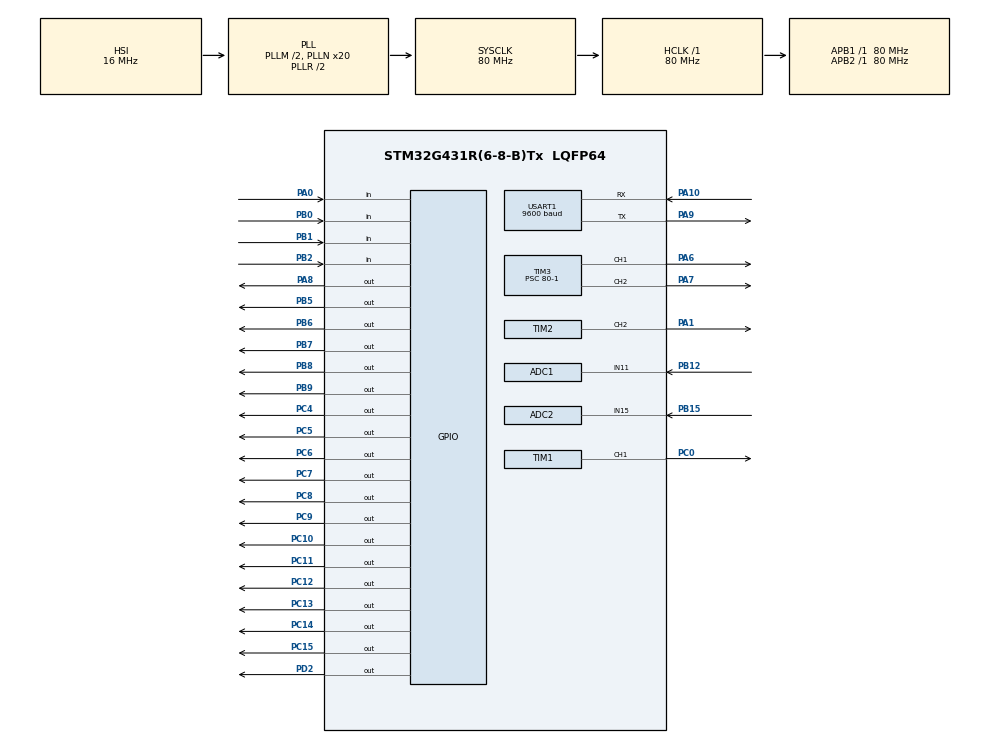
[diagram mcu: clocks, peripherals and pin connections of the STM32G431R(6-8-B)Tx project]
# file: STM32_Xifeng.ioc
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ADC1.Channel-3\#ChannelRegularConversion=ADC_CHANNEL_11
ADC1.ClockPrescaler=ADC_CLOCK_SYNC_PCLK_DIV4
ADC1.ContinuousConvMode=ENABLE
ADC1.DMAContinuousRequests=ENABLE
ADC1.NbrOfConversionFlag=1
ADC1.OffsetNumber-3\#ChannelRegularConversion=ADC_OFFSET_NONE
ADC1.Rank-3\#ChannelRegularConversion=1
ADC1.SamplingTime-3\#ChannelRegularConversion=ADC_SAMPLETIME_2CYCLES_5
ADC1.master=1
ADC2.Channel-2\#ChannelRegularConversion=ADC_CHANNEL_15
ADC2.ClockPrescaler=ADC_CLOCK_SYNC_PCLK_DIV4
ADC2.ContinuousConvMode=ENABLE
ADC2.DMAContinuousRequests=ENABLE
ADC2.NbrOfConversionFlag=1
ADC2.OffsetNumber-2\#ChannelRegularConversion=ADC_OFFSET_NONE
ADC2.Rank-2\#ChannelRegularConversion=1
ADC2.SamplingTime-2\#ChannelRegularConversion=ADC_SAMPLETIME_2CYCLES_5
Dma.ADC1.3.Direction=DMA_PERIPH_TO_MEMORY
Dma.ADC1.3.EventEnable=DISABLE
Dma.ADC1.3.Instance=DMA1_Channel2
Dma.ADC1.3.MemDataAlignment=DMA_MDATAALIGN_WORD
Dma.ADC1.3.MemInc=DMA_MINC_ENABLE
Dma.ADC1.3.Mode=DMA_CIRCULAR
Dma.ADC1.3.PeriphDataAlignment=DMA_PDATAALIGN_WORD
Dma.ADC1.3.PeriphInc=DMA_PINC_DISABLE
Dma.ADC1.3.Polarity=HAL_DMAMUX_REQ_GEN_RISING
Dma.ADC1.3.Priority=DMA_PRIORITY_MEDIUM
Dma.ADC1.3.RequestNumber=1
Dma.ADC1.3.SignalID=NONE
Dma.ADC1.3.SyncEnable=DISABLE
Dma.ADC1.3.SyncPolarity=HAL_DMAMUX_SYNC_NO_EVENT
Dma.ADC1.3.SyncRequestNumber=1
Dma.ADC1.3.SyncSignalID=NONE
Dma.ADC2.1.Direction=DMA_PERIPH_TO_MEMORY
Dma.ADC2.1.EventEnable=DISABLE
Dma.ADC2.1.Instance=DMA1_Channel3
Dma.ADC2.1.MemDataAlignment=DMA_MDATAALIGN_WORD
Dma.ADC2.1.MemInc=DMA_MINC_ENABLE
Dma.ADC2.1.Mode=DMA_CIRCULAR
Dma.ADC2.1.PeriphDataAlignment=DMA_PDATAALIGN_WORD
Dma.ADC2.1.PeriphInc=DMA_PINC_DISABLE
Dma.ADC2.1.Polarity=HAL_DMAMUX_REQ_GEN_RISING
Dma.ADC2.1.Priority=DMA_PRIORITY_MEDIUM
Dma.ADC2.1.RequestNumber=1
Dma.ADC2.1.SignalID=NONE
Dma.ADC2.1.SyncEnable=DISABLE
Dma.ADC2.1.SyncPolarity=HAL_DMAMUX_SYNC_NO_EVENT
Dma.ADC2.1.SyncRequestNumber=1
Dma.ADC2.1.SyncSignalID=NONE
Dma.Request0=USART1_RX
Dma.Request1=ADC2
Dma.Request2=TIM3_CH1
Dma.Request3=ADC1
Dma.TIM3_CH1.2.Direction=DMA_PERIPH_TO_MEMORY
Dma.TIM3_CH1.2.EventEnable=DISABLE
Dma.TIM3_CH1.2.Instance=DMA1_Channel4
Dma.TIM3_CH1.2.MemDataAlignment=DMA_MDATAALIGN_WORD
Dma.TIM3_CH1.2.MemInc=DMA_MINC_ENABLE
Dma.TIM3_CH1.2.Mode=DMA_CIRCULAR
Dma.TIM3_CH1.2.PeriphDataAlignment=DMA_PDATAALIGN_WORD
Dma.TIM3_CH1.2.PeriphInc=DMA_PINC_DISABLE
Dma.TIM3_CH1.2.Polarity=HAL_DMAMUX_REQ_GEN_RISING
Dma.TIM3_CH1.2.Priority=DMA_PRIORITY_LOW
Dma.TIM3_CH1.2.RequestNumber=1
Dma.TIM3_CH1.2.SignalID=NONE
Dma.TIM3_CH1.2.SyncEnable=DISABLE
Dma.TIM3_CH1.2.SyncPolarity=HAL_DMAMUX_SYNC_NO_EVENT
Dma.TIM3_CH1.2.SyncRequestNumber=1
Dma.TIM3_CH1.2.SyncSignalID=NONE
Dma.USART1_RX.0.Direction=DMA_PERIPH_TO_MEMORY
Dma.USART1_RX.0.EventEnable=DISABLE
Dma.USART1_RX.0.Instance=DMA1_Channel1
Dma.USART1_RX.0.MemDataAlignment=DMA_MDATAALIGN_BYTE
Dma.USART1_RX.0.MemInc=DMA_MINC_ENABLE
Dma.USART1_RX.0.Mode=DMA_NORMAL
Dma.USART1_RX.0.PeriphDataAlignment=DMA_PDATAALIGN_BYTE
Dma.USART1_RX.0.PeriphInc=DMA_PINC_DISABLE
Dma.USART1_RX.0.Polarity=HAL_DMAMUX_REQ_GEN_RISING
Dma.USART1_RX.0.Priority=DMA_PRIORITY_HIGH
Dma.USART1_RX.0.RequestNumber=1
Dma.USART1_RX.0.SignalID=NONE
Dma.USART1_RX.0.SyncEnable=DISABLE
Dma.USART1_RX.0.SyncPolarity=HAL_DMAMUX_SYNC_NO_EVENT
Dma.USART1_RX.0.SyncRequestNumber=1
Dma.USART1_RX.0.SyncSignalID=NONE
Mcu.Family=STM32G4
Mcu.Name=STM32G431R(6-8-B)Tx
Mcu.Package=LQFP64
NVIC.ADC1_2_IRQn=true\:2\:0\:true\:false\:true\:true\:true\:true
NVIC.DMA1_Channel1_IRQn=true\:1\:0\:true\:false\:true\:false\:true\:true
NVIC.DMA1_Channel2_IRQn=true\:0\:0\:false\:false\:true\:false\:true\:true
NVIC.DMA1_Channel3_IRQn=true\:1\:0\:true\:false\:true\:false\:true\:true
NVIC.DMA1_Channel4_IRQn=true\:1\:0\:true\:false\:true\:false\:true\:true
NVIC.PriorityGroup=NVIC_PRIORITYGROUP_4
NVIC.USART1_IRQn=true\:1\:0\:true\:false\:true\:true\:true\:true
PA0.GPIO_PuPd=GPIO_PULLUP
PA0.Signal=GPIO_Input
PA1.Signal=S_TIM2_CH2
PA10.Mode=Asynchronous
PA10.Signal=USART1_RX
PA6.Signal=S_TIM3_CH1
PA7.Signal=S_TIM3_CH2
PA8.Signal=GPIO_Output
PA9.Mode=Asynchronous
PA9.Signal=USART1_TX
PB0.GPIO_PuPd=GPIO_PULLUP
PB0.Signal=GPIO_Input
PB1.GPIO_PuPd=GPIO_PULLUP
PB1.Signal=GPIO_Input
PB12.Mode=IN11-Single-Ended
PB12.Signal=ADC1_IN11
PB15.Mode=IN15-Single-Ended
PB15.Signal=ADC2_IN15
PB2.GPIO_PuPd=GPIO_PULLUP
PB2.Signal=GPIO_Input
PB5.Signal=GPIO_Output
PB6.GPIO_PuPd=GPIO_PULLUP
PB6.GPIO_Speed=GPIO_SPEED_FREQ_VERY_HIGH
PB6.Signal=GPIO_Output
PB7.GPIO_PuPd=GPIO_PULLUP
PB7.GPIO_Speed=GPIO_SPEED_FREQ_VERY_HIGH
PB7.Signal=GPIO_Output
PB8-BOOT0.Signal=GPIO_Output
PB9.Signal=GPIO_Output
PC0.Signal=S_TIM1_CH1
PC10.PinState=GPIO_PIN_SET
PC10.Signal=GPIO_Output
PC11.PinState=GPIO_PIN_SET
PC11.Signal=GPIO_Output
PC12.PinState=GPIO_PIN_SET
PC12.Signal=GPIO_Output
PC13.PinState=GPIO_PIN_SET
PC13.Signal=GPIO_Output
PC14-OSC32_IN.PinState=GPIO_PIN_SET
PC14-OSC32_IN.Signal=GPIO_Output
PC15-OSC32_OUT.PinState=GPIO_PIN_SET
PC15-OSC32_OUT.Signal=GPIO_Output
PC4.Signal=GPIO_Output
PC5.Signal=GPIO_Output
PC6.Signal=GPIO_Output
PC7.Signal=GPIO_Output
PC8.PinState=GPIO_PIN_SET
PC8.Signal=GPIO_Output
PC9.PinState=GPIO_PIN_SET
PC9.Signal=GPIO_Output
PD2.PinState=GPIO_PIN_RESET
PD2.Signal=GPIO_Output
PF0-OSC_IN.Mode=HSE-External-Oscillator
PF0-OSC_IN.Signal=RCC_OSC_IN
PF1-OSC_OUT.Mode=HSE-External-Oscillator
PF1-OSC_OUT.Signal=RCC_OSC_OUT
ProjectManager.HeapSize=0x200
ProjectManager.StackSize=0x400
ProjectManager.TargetToolchain=MDK-ARM V5
RCC.ADC12Freq_Value=80000000
RCC.AHBFreq_Value=80000000
RCC.APB1Freq_Value=80000000
RCC.APB1TimFreq_Value=80000000
RCC.APB2Freq_Value=80000000
RCC.APB2TimFreq_Value=80000000
RCC.CortexFreq_Value=80000000
RCC.EXTERNAL_CLOCK_VALUE=12288000
RCC.HCLKFreq_Value=80000000
RCC.HSE_VALUE=24000000
RCC.HSI48_VALUE=48000000
RCC.HSI_VALUE=16000000
RCC.LSE_VALUE=32768
RCC.PLLM=RCC_PLLM_DIV2
RCC.PLLN=20
RCC.SYSCLKFreq_VALUE=80000000
RCC.SYSCLKSource=RCC_SYSCLKSOURCE_PLLCLK
RCC.USBFreq_Value=80000000
RCC.VCOOutputFreq_Value=160000000
RTC.AsynchPrediv=127
RTC.Format=RTC_FORMAT_BIN
RTC.Hours=23
RTC.Minutes=59
RTC.Seconds=55
RTC.SynchPrediv=255
SH.S_TIM1_CH1.0=TIM1_CH1,PWM Generation1 CH1
SH.S_TIM2_CH2.0=TIM2_CH2,PWM Generation2 CH2
SH.S_TIM3_CH1.0=TIM3_CH1
SH.S_TIM3_CH1.1=TIM3_CH1,Output Compare1 CH1
SH.S_TIM3_CH2.0=TIM3_CH2,Forced Output2 CH2
TIM1.Channel-PWM\ Generation1\ CH1=TIM_CHANNEL_1
TIM1.PeriodNoDither=1000-1
TIM1.Prescaler=170-1
TIM1.PulseNoDither_1=50
TIM2.Channel-PWM\ Generation2\ CH2=TIM_CHANNEL_2
TIM2.PeriodNoDither=1000-1
TIM2.Prescaler=170-1
TIM2.PulseNoDither_2=50
TIM3.Channel-Forced\ Output2\ CH2=TIM_CHANNEL_2
TIM3.Channel-Output\ Compare1\ CH1=TIM_CHANNEL_1
TIM3.PeriodNoDither=1000-1
TIM3.Prescaler=80-1
TIM3.PulseNoDither_2=50
USART1.BaudRate=9600
USART1.VirtualMode-Asynchronous=VM_ASYNC
VP_RTC_VS_RTC_Activate.Mode=RTC_Enabled
VP_RTC_VS_RTC_Calendar.Mode=RTC_Calendar
VP_SYS_VS_DBSignals.Mode=DisableDeadBatterySignals
VP_TIM1_VS_ClockSourceINT.Mode=Internal
VP_TIM2_VS_ClockSourceINT.Mode=Internal
VP_TIM3_VS_ClockSourceINT.Mode=Internal
board=custom

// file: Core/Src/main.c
/* USER CODE BEGIN Header */
/**
 ******************************************************************************
 * @file           : main.c
 * @brief          : Main program body
 ******************************************************************************
 * @attention
 *
 * Copyright (c) 2024 STMicroelectronics.
 * All rights reserved.
 *
 * This software is licensed under terms that can be found in the LICENSE file
 * in the root directory of this software component.
 * If no LICENSE file comes with this software, it is provided AS-IS.
 *
 ******************************************************************************
 */
/* USER CODE END Header */
#include "main.h"
#include "adc.h"
#include "dma.h"
#include "rtc.h"
#include "tim.h"
#include "usart.h"
#include "gpio.h"

/* USER CODE BEGIN Includes */
#include "bsp_system.h"
/* USER CODE END Includes */

void SystemClock_Config(void);

int main(void)
{

  /* MCU Configuration--------------------------------------------------------*/

  /* Reset of all peripherals, Initializes the Flash interface and the Systick. */
  HAL_Init();

  /* Configure the system clock */
  SystemClock_Config();

  /* Initialize all configured peripherals */
  MX_GPIO_Init();
  MX_DMA_Init();
  MX_USART1_UART_Init();
  MX_ADC1_Init();
  MX_ADC2_Init();
  MX_RTC_Init();
  MX_TIM1_Init();
  MX_TIM3_Init();
  MX_TIM2_Init();
  /* USER CODE BEGIN 2 */
    system_init();
    key_init();
    ringbuffer_init(&usart_rb);
     HAL_ADCEx_Calibration_Start(&hadc1,ADC_SINGLE_ENDED);
     HAL_ADCEx_Calibration_Start(&hadc2,ADC_SINGLE_ENDED);
    HAL_ADC_Start_DMA(&hadc1, (uint32_t *)&dma_buff[0][0], 30);
    HAL_ADC_Start_DMA(&hadc2, (uint32_t *)&dma_buff[1][0], 30);
    HAL_ADC_PollForConversion(&hadc1,HAL_MAX_DELAY);
    HAL_ADC_PollForConversion(&hadc2,HAL_MAX_DELAY);
    HAL_TIM_IC_Start_DMA(&htim3, TIM_CHANNEL_1, tim_ic_buffer, 64);
    HAL_TIM_PWM_Start(&htim1, TIM_CHANNEL_1);
    HAL_TIM_PWM_Start(&htim2, TIM_CHANNEL_2);

    LCD_Init();
    LCD_Clear(Black);
    LCD_SetTextColor(White);
    LCD_SetBackColor(Black);
    scheduler_init();
  /* USER CODE END 2 */

  /* Infinite loop */
    while (1)
    {

    /* USER CODE BEGIN 3 */
        scheduler_run();
    }
  /* USER CODE END 3 */
}

void SystemClock_Config(void)
{
  RCC_OscInitTypeDef RCC_OscInitStruct = {0};
  RCC_ClkInitTypeDef RCC_ClkInitStruct = {0};

  /** Configure the main internal regulator output voltage
  */
  HAL_PWREx_ControlVoltageScaling(PWR_REGULATOR_VOLTAGE_SCALE1);

  /** Initializes the RCC Oscillators according to the specified parameters
  * in the RCC_OscInitTypeDef structure.
  */
  RCC_OscInitStruct.OscillatorType = RCC_OSCILLATORTYPE_HSI|RCC_OSCILLATORTYPE_LSI;
  RCC_OscInitStruct.HSIState = RCC_HSI_ON;
  RCC_OscInitStruct.HSICalibrationValue = RCC_HSICALIBRATION_DEFAULT;
  RCC_OscInitStruct.LSIState = RCC_LSI_ON;
  RCC_OscInitStruct.PLL.PLLState = RCC_PLL_ON;
  RCC_OscInitStruct.PLL.PLLSource = RCC_PLLSOURCE_HSI;
  RCC_OscInitStruct.PLL.PLLM = RCC_PLLM_DIV2;
  RCC_OscInitStruct.PLL.PLLN = 20;
  RCC_OscInitStruct.PLL.PLLP = RCC_PLLP_DIV2;
  RCC_OscInitStruct.PLL.PLLQ = RCC_PLLQ_DIV2;
  RCC_OscInitStruct.PLL.PLLR = RCC_PLLR_DIV2;
  if (HAL_RCC_OscConfig(&RCC_OscInitStruct) != HAL_OK)
  {
    Error_Handler();
  }

  /** Initializes the CPU, AHB and APB buses clocks
  */
  RCC_ClkInitStruct.ClockType = RCC_CLOCKTYPE_HCLK|RCC_CLOCKTYPE_SYSCLK
                              |RCC_CLOCKTYPE_PCLK1|RCC_CLOCKTYPE_PCLK2;
  RCC_ClkInitStruct.SYSCLKSource = RCC_SYSCLKSOURCE_PLLCLK;
  RCC_ClkInitStruct.AHBCLKDivider = RCC_SYSCLK_DIV1;
  RCC_ClkInitStruct.APB1CLKDivider = RCC_HCLK_DIV1;
  RCC_ClkInitStruct.APB2CLKDivider = RCC_HCLK_DIV1;

  if (HAL_RCC_ClockConfig(&RCC_ClkInitStruct, FLASH_LATENCY_2) != HAL_OK)
  {
    Error_Handler();
  }
}

void Error_Handler(void)
{
    __disable_irq();
    while (1)
    {
    }
}
